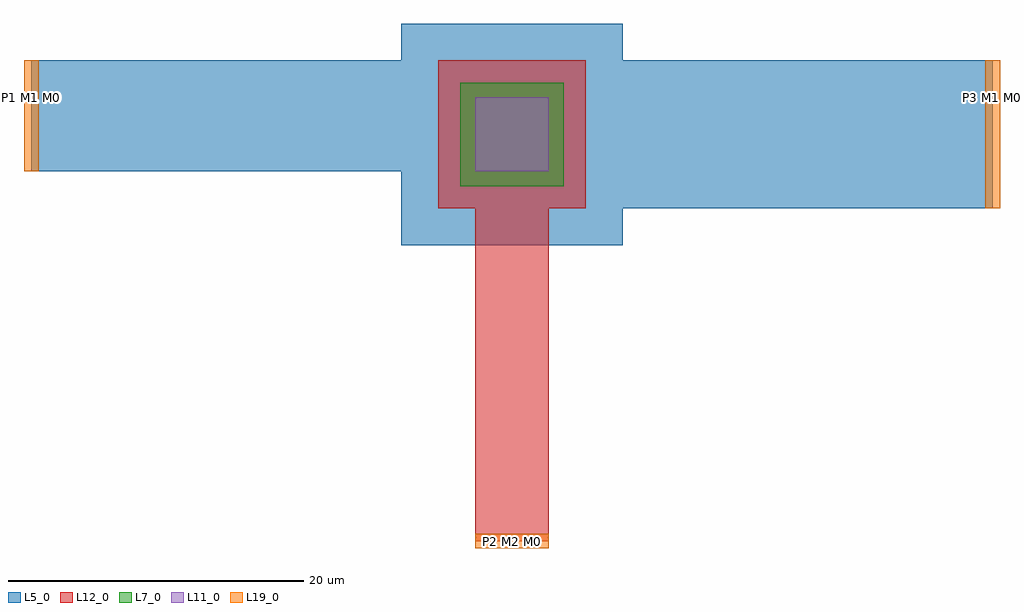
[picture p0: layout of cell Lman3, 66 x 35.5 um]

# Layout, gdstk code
import gdstk
lib = gdstk.Library(unit=1e-6, precision=1e-09)
def R(c, l, rs):  # rectangles x0, y0, x1, y1
    for r in rs: c.add(gdstk.rectangle(r[:2], r[2:], *l))
L5_0 = (5, 0)
L7_0 = (7, 0)
L11_0 = (11, 0)
L12_0 = (12, 0)
L19_0 = (19, 0)

lman3 = lib.new_cell('Lman3')
R(lman3, L5_0, [(25,-5,40,10), (40,-2.5,65,7.5), (0,0,25,7.5)])
R(lman3, L7_0, [(29,-1,36,6)])
R(lman3, L11_0, [(30,0,35,5)])
R(lman3, L12_0, [(30,-25,35,-2.5), (27.5,-2.5,37.5,7.5)])
lman3.add(gdstk.FlexPath([(0,7.5),(0,0)], 1, ends="flush", simple_path=True, layer=19, datatype=0))  # L19_0
lman3.add(gdstk.FlexPath([(65,7.5),(65,-2.5)], 1, ends="flush", simple_path=True, layer=19, datatype=0))  # L19_0
lman3.add(gdstk.FlexPath([(30,-25),(35,-25)], 1, ends="flush", simple_path=True, layer=19, datatype=0))  # L19_0
lman3.add(gdstk.Label('P1 M1 M0', (0,5), layer=18, texttype=0))
lman3.add(gdstk.Label('P3 M1 M0', (65,5), layer=18, texttype=0))
lman3.add(gdstk.Label('P2 M2 M0', (32.5,-25), layer=18, texttype=0))

lib.write_gds('Lman3.gds')
